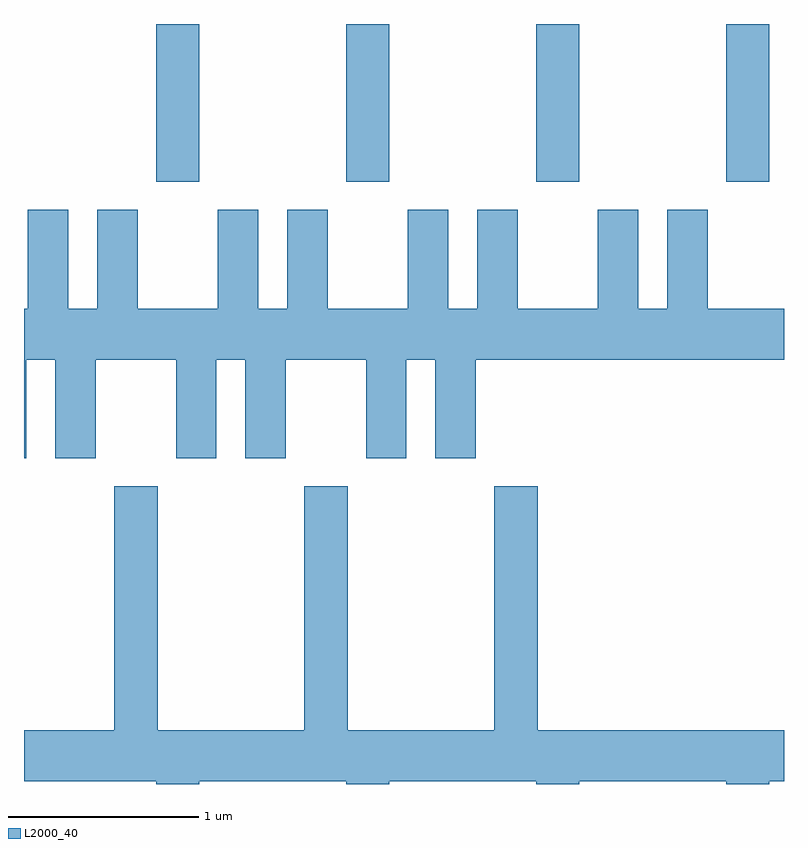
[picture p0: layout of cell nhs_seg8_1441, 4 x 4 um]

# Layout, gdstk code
import gdstk
lib = gdstk.Library(unit=1e-6, precision=1e-09)
def R(c, l, rs):  # rectangles x0, y0, x1, y1
    for r in rs: c.add(gdstk.rectangle(r[:2], r[2:], *l))
def A(c, l, x, y, w, h, nx, ny, dx, dy):  # array of equal rectangles
    R(c, l, [(x+i*dx, y+j*dy, x+i*dx+w, y+j*dy+h) for i in range(nx) for j in range(ny)])
def P(c, l, *ps):  # polygons
    for p in ps: c.add(gdstk.Polygon(p, *l))
L2000_40 = (2000, 40)

nhs_seg8_1441 = lib.new_cell('nhs_seg8_1441')
A(nhs_seg8_1441, L2000_40, 228.306, 1899.511, 0.228, 0.831, 4, 1, 1, 0)
P(nhs_seg8_1441, L2000_40, [(227.624,1898.576),(227.776,1898.576),(227.776,1898.056),(227.989,1898.056),(227.989,1898.576),(228.411,1898.576),(228.411,1898.056),(228.624,1898.056),(228.624,1898.576),(228.776,1898.576),(228.776,1898.056),(228.989,1898.056),(228.989,1898.576),(229.411,1898.576),(229.411,1898.056),(229.624,1898.056),(229.624,1898.576),(229.776,1898.576),(229.776,1898.056),(229.989,1898.056),(229.989,1898.576),(231.611,1898.576),(231.611,1898.844),(231.209,1898.844),(231.209,1899.364),(230.996,1899.364),(230.996,1898.844),(230.844,1898.844),(230.844,1899.364),(230.631,1899.364),(230.631,1898.844),(230.209,1898.844),(230.209,1899.364),(229.996,1899.364),(229.996,1898.844),(229.844,1898.844),(229.844,1899.364),(229.631,1899.364),(229.631,1898.844),(229.209,1898.844),(229.209,1899.364),(228.996,1899.364),(228.996,1898.844),(228.844,1898.844),(228.844,1899.364),(228.631,1899.364),(228.631,1898.844),(228.209,1898.844),(228.209,1899.364),(227.996,1899.364),(227.996,1898.844),(227.844,1898.844),(227.844,1899.364),(227.631,1899.364),(227.631,1898.844),(227.611,1898.844),(227.611,1898.056),(227.624,1898.056)],
  [(228.534,1896.356),(229.306,1896.356),(229.306,1896.342),(229.534,1896.342),(229.534,1896.356),(230.306,1896.356),(230.306,1896.342),(230.534,1896.342),(230.534,1896.356),(231.306,1896.356),(231.306,1896.342),(231.534,1896.342),(231.534,1896.356),(231.611,1896.356),(231.611,1896.624),(230.314,1896.624),(230.314,1897.909),(230.086,1897.909),(230.086,1896.624),(229.314,1896.624),(229.314,1897.909),(229.086,1897.909),(229.086,1896.624),(228.314,1896.624),(228.314,1897.909),(228.086,1897.909),(228.086,1896.624),(227.611,1896.624),(227.611,1896.356),(228.306,1896.356),(228.306,1896.342),(228.534,1896.342)])

lib.write_gds('nhs_seg8_1441.gds')
